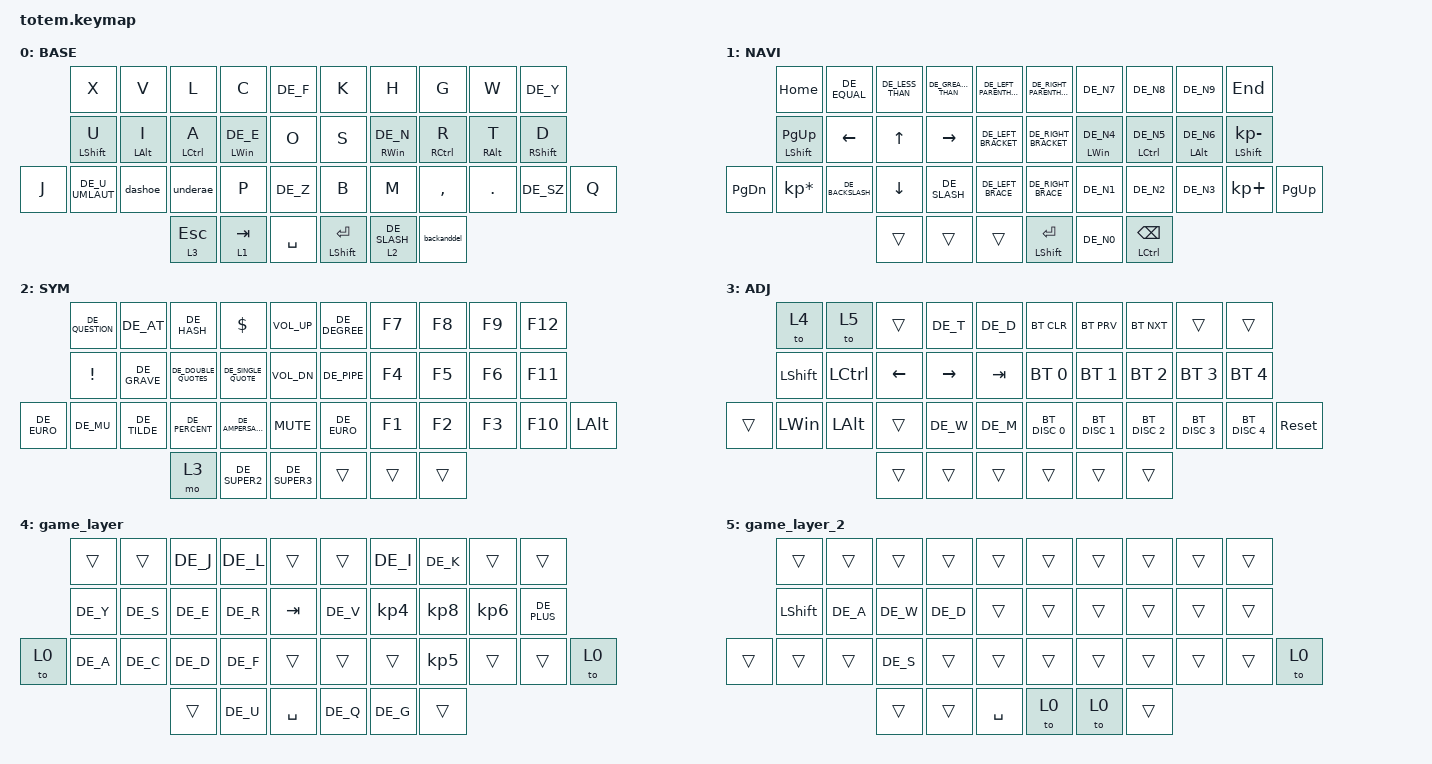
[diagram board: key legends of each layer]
//
//                                                        ▀▀▀▀▀     ▀▀▀▀▀          ▀▀█▀▀
//                                                        ▄▀▀▀▄  ▄  ▄▀▀▀▄  ▄  ▄▀▀▀▄  █  ▄▀▀▀▄
//                                                        █   █  █  █   █  █  █   █  █  █   █
//                                                         ▀▀▀   █   ▀▀▀   █   ▀▀▀   ▀   ▀▀▀
//                                                               █      ▄▄▄█▄▄▄    █   █  
//                                                               ▀      █  █  █     █▄█
//                                                             ▀▀▀▀▀    █  █  █      ▀
//                                                                      ▀  ▀  ▀
//
// ▄▄▄▄▄▄▄▄▄▄▄▄▄▄▄▄▄▄▄▄▄▄▄▄▄▄▄▄▄▄▄▄▄▄▄▄▄▄▄▄▄▄▄▄▄▄▄▄▄▄▄▄▄▄▄▄▄▄▄▄▄▄▄▄▄▄▄▄▄▄▄▄▄▄▄▄▄▄▄▄▄▄▄▄▄▄▄▄▄▄▄▄▄▄▄▄▄▄▄▄▄▄▄▄▄▄▄▄▄▄▄▄▄▄▄▄▄▄▄▄▄▄▄▄▄▄▄▄▄▄▄▄▄▄▄▄▄▄▄▄▄▄▄▄▄▄▄▄▄

#include "keys_de.h"
#include <behaviors.dtsi>
#include <dt-bindings/zmk/bt.h>
#include <dt-bindings/zmk/keys.h>

#define BASE 0
#define NAV  1
#define SYM  2
#define ADJ  3
#define TVP1 4
#define TVP2 5

&mt {
    quick-tap-ms = <100>;
    global-quick-tap;
    flavor = "tap-preferred";
    tapping-term-ms = <170>;
};

/ {
    combos {
        compatible = "zmk,combos";

        combo_esc {
            timeout-ms = <50>;
            key-positions = <1 2 3>;
            bindings = <&kp ESC>;
        };

        combo__ {
            bindings = <&kp DELETE>;
            key-positions = <23 22>;
        };

        lay_0 {
            bindings = <&to 0>;
            key-positions = <32 37>;
        };

        enterright {
            bindings = <&kp RET>;
            key-positions = <16 17 18>;
        };

        enterleft {
            bindings = <&kp RET>;
            key-positions = <11 12 13>;
        };

        tab {
            bindings = <&kp TAB>;
            key-positions = <22 23 24>;
        };
    };

    macros {
        gif: gif {
            label = "giphy";
            compatible = "zmk,behavior-macro";
            #binding-cells = <0>;
            bindings =
                <&macro_press>,
                <&kp LSHFT>,
                <&macro_tap>,
                <&kp N2>,
                <&macro_release>,
                <&kp LSHFT>,
                <&macro_tap>,
                <&kp G &kp I &kp F>;
        };

        Des_left: Des_left {
            compatible = "zmk,behavior-macro";
            #binding-cells = <0>;
            bindings = <&kp LEFT_CONTROL &kp LEFT_WIN &kp LEFT_ARROW>;
            label = "DES_LEFT";
        };

        Des_right: Des_right {
            compatible = "zmk,behavior-macro";
            #binding-cells = <0>;
            bindings = <&kp LEFT_CONTROL &kp LEFT_WIN &kp RIGHT_ARROW>;
            label = "DES_RIGHT";
        };
    };

    behaviors {
        backanddel: backanddel {
            compatible = "zmk,behavior-mod-morph";
            label = "BACKANDDEL";
            bindings = <&kp BACKSPACE>, <&kp DELETE>;

            #binding-cells = <0>;
            mods = <(MOD_LSFT)>;
        };

        underae: underae {
            compatible = "zmk,behavior-mod-morph";
            label = "UNDERAE";
            bindings = <&kp DE_A_UMLAUT>, <&kp DE_UNDER>;

            #binding-cells = <0>;
            mods = <(MOD_LCTL|MOD_RCTL)>;
        };

        dashoe: dashoe {
            compatible = "zmk,behavior-mod-morph";
            label = "DASHOE";
            bindings = <&kp DE_O_UMLAUT>, <&kp DE_MINUS>;

            #binding-cells = <0>;
            mods = <(MOD_LCTL|MOD_RCTL)>;
        };
    };

    keymap {
        compatible = "zmk,keymap";

        // ▄▄▄▄▄▄▄▄▄▄▄▄▄▄▄▄▄▄▄▄▄▄▄▄▄▄▄▄▄▄▄▄▄▄▄▄▄▄▄▄▄▄▄▄▄▄▄▄▄▄▄▄▄▄▄▄▄▄▄▄▄▄▄▄▄▄▄▄▄▄▄▄▄▄▄▄▄▄▄▄▄▄▄▄▄▄▄▄▄▄▄▄▄▄▄▄▄▄▄▄▄▄▄▄▄▄▄▄▄▄▄▄▄▄▄▄▄▄▄▄▄▄▄▄▄▄▄▄▄▄▄▄▄▄▄▄▄▄▄▄▄▄▄▄▄▄▄▄▄

        base_layer {
            // ┏━━━━━━━━━━━━━━━━━━━━━━━━━━━━━━━━━━━━━━━┓

            label = "BASE";

            // ┗━━━━━━━━━━━━━━━━━━━━━━━━━━━━━━━━━━━━━━━┛
            //             ┏━━━━━━━━━━━┳━━━━━━━━━━━┳━━━━━━━━━━━┳━━━━━━━━━━━┳━━━━━━━━━━━┓   ┏━━━━━━━━━━━┳━━━━━━━━━━━┳━━━━━━━━━━━┳━━━━━━━━━━━┳━━━━━━━━━━━┓
            //             ┃     Q     ┃     W     ┃     F     ┃     P     ┃     G     ┃   ┃     J     ┃     L     ┃     U     ┃     Y     ┃     ;     ┃
            //             ┣━━━━━━━━━━━╋━━━━━━━━━━━╋━━━━━━━━━━━╋━━━━━━━━━━━╋━━━━━━━━━━━┫   ┣━━━━━━━━━━━╋━━━━━━━━━━━╋━━━━━━━━━━━╋━━━━━━━━━━━╋━━━━━━━━━━━┫
            //             ┃     A     ┃     R     ┃     S     ┃     T     ┃     D     ┃   ┃     H     ┃     N     ┃     E     ┃     I     ┃     O     ┃
            // ┏━━━━━━━━━━━╋━━━━━━━━━━━╋━━━━━━━━━━━╋━━━━━━━━━━━╋━━━━━━━━━━━╋━━━━━━━━━━━┫   ┣━━━━━━━━━━━╋━━━━━━━━━━━╋━━━━━━━━━━━╋━━━━━━━━━━━╋━━━━━━━━━━━╋━━━━━━━━━━━┓
            // ┃     Q     ┃     Z     ┃     X     ┃     C     ┃     V     ┃     B     ┃   ┃     K     ┃     M     ┃     ,     ┃     .     ┃     /     ┃     \     ┃
            // ┗━━━━━━━━━━━┻━━━━━━━━━━━┻━━━━━━━━━━━╋━━━━━━━━━━━╋━━━━━━━━━━━╋━━━━━━━━━━━┫   ┣━━━━━━━━━━━╋━━━━━━━━━━━╋━━━━━━━━━━━╋━━━━━━━━━━━┻━━━━━━━━━━━┻━━━━━━━━━━━┛
            //                                     ┃    DEL    ┃    TAB    ┃    SPC    ┃   ┃   ENTER   ┃           ┃   BSPC    ┃
            //                                     ┗━━━━━━━━━━━┻━━━━━━━━━━━┻━━━━━━━━━━━┛   ┗━━━━━━━━━━━┻━━━━━━━━━━━┻━━━━━━━━━━━┛

            bindings = <
       &kp X             &kp V       &kp L         &kp C              &kp DE_F     &kp K                 &kp H               &kp G        &kp W       &kp DE_Y
       &mt LEFT_SHIFT U  &mt LALT I  &mt LCTRL A   &mt LEFT_WIN DE_E  &kp O        &kp S                 &mt RIGHT_WIN DE_N  &mt RCTRL R  &mt RALT T  &mt RIGHT_SHIFT D
&kp J  &kp DE_U_UMLAUT   &dashoe     &underae      &kp P              &kp DE_Z     &kp B                 &kp M               &kp COMMA    &kp DOT     &kp DE_SZ          &kp Q
                                     &lt 3 ESCAPE  &lt 1 TAB          &kp SPACE    &mt LEFT_SHIFT ENTER  &lt 2 DE_SLASH      &backanddel
            >;
        };

        // ▄▄▄▄▄▄▄▄▄▄▄▄▄▄▄▄▄▄▄▄▄▄▄▄▄▄▄▄▄▄▄▄▄▄▄▄▄▄▄▄▄▄▄▄▄▄▄▄▄▄▄▄▄▄▄▄▄▄▄▄▄▄▄▄▄▄▄▄▄▄▄▄▄▄▄▄▄▄▄▄▄▄▄▄▄▄▄▄▄▄▄▄▄▄▄▄▄▄▄▄▄▄▄▄▄▄▄▄▄▄▄▄▄▄▄▄▄▄▄▄▄▄▄▄▄▄▄▄▄▄▄▄▄▄▄▄▄▄▄▄▄▄▄▄▄▄▄▄▄

        nav_layer {
            // ┏━━━━━━━━━━━━━━━━━━━━━━━━━━━━━━━━━━━━━━━┓

            label = "NAVI";

            // ┗━━━━━━━━━━━━━━━━━━━━━━━━━━━━━━━━━━━━━━━┛
            //             ┏━━━━━━━━━━━┳━━━━━━━━━━━┳━━━━━━━━━━━┳━━━━━━━━━━━┳━━━━━━━━━━━┓   ┏━━━━━━━━━━━┳━━━━━━━━━━━┳━━━━━━━━━━━┳━━━━━━━━━━━┳━━━━━━━━━━━┓
            //             ┃           ┃           ┃     UP    ┃           ┃     {     ┃   ┃     }     ┃     7     ┃     8     ┃     9     ┃     +     ┃
            //             ┣━━━━━━━━━━━╋━━━━━━━━━━━╋━━━━━━━━━━━╋━━━━━━━━━━━╋━━━━━━━━━━━┫   ┣━━━━━━━━━━━╋━━━━━━━━━━━╋━━━━━━━━━━━╋━━━━━━━━━━━╋━━━━━━━━━━━┫
            //             ┃   SHIFT   ┃   LEFT    ┃    DOWN   ┃   RIGHT   ┃     [     ┃   ┃     ]     ┃     4     ┃     5     ┃     6     ┃     -     ┃
            // ┏━━━━━━━━━━━╋━━━━━━━━━━━╋━━━━━━━━━━━╋━━━━━━━━━━━╋━━━━━━━━━━━╋━━━━━━━━━━━┫   ┣━━━━━━━━━━━╋━━━━━━━━━━━╋━━━━━━━━━━━╋━━━━━━━━━━━╋━━━━━━━━━━━╋━━━━━━━━━━━┓
            // ┃           ┃           ┃   P UP    ┃  C LOCK   ┃  P DOWN   ┃     (     ┃   ┃     )     ┃     1     ┃     2     ┃     3     ┃     *     ┃           ┃
            // ┗━━━━━━━━━━━┻━━━━━━━━━━━┻━━━━━━━━━━━╋━━━━━━━━━━━╋━━━━━━━━━━━╋━━━━━━━━━━━┫   ┣━━━━━━━━━━━╋━━━━━━━━━━━╋━━━━━━━━━━━╋━━━━━━━━━━━┻━━━━━━━━━━━┻━━━━━━━━━━━┛
            //                                     ┃           ┃    TAB    ┃    SPC    ┃   ┃    DEL    ┃     0     ┃           ┃
            //                                     ┗━━━━━━━━━━━┻━━━━━━━━━━━┻━━━━━━━━━━━┛   ┗━━━━━━━━━━━┻━━━━━━━━━━━┻━━━━━━━━━━━┛

            bindings = <
               &kp HOME              &kp DE_EQUAL      &kp DE_LESS_THAN  &kp DE_GREATER_THAN  &kp DE_LEFT_PARENTHESIS    &kp DE_RIGHT_PARENTHESIS  &kp DE_N7           &kp DE_N8                   &kp DE_N9           &kp END
               &mt LEFT_SHIFT PG_UP  &kp LEFT_ARROW    &kp UP            &kp RIGHT            &kp DE_LEFT_BRACKET        &kp DE_RIGHT_BRACKET      &mt LEFT_WIN DE_N4  &mt LEFT_CONTROL DE_N5      &mt LEFT_ALT DE_N6  &mt LEFT_SHIFT KP_MINUS
&kp PAGE_DOWN  &kp KP_MULTIPLY       &kp DE_BACKSLASH  &kp DOWN_ARROW    &kp DE_SLASH         &kp DE_LEFT_BRACE          &kp DE_RIGHT_BRACE        &kp DE_N1           &kp DE_N2                   &kp DE_N3           &kp KP_PLUS              &kp PG_UP
                                                       &trans            &trans               &trans                     &mt LEFT_SHIFT ENTER      &kp DE_N0           &mt LEFT_CONTROL BACKSPACE
            >;
        };

        // ▄▄▄▄▄▄▄▄▄▄▄▄▄▄▄▄▄▄▄▄▄▄▄▄▄▄▄▄▄▄▄▄▄▄▄▄▄▄▄▄▄▄▄▄▄▄▄▄▄▄▄▄▄▄▄▄▄▄▄▄▄▄▄▄▄▄▄▄▄▄▄▄▄▄▄▄▄▄▄▄▄▄▄▄▄▄▄▄▄▄▄▄▄▄▄▄▄▄▄▄▄▄▄▄▄▄▄▄▄▄▄▄▄▄▄▄▄▄▄▄▄▄▄▄▄▄▄▄▄▄▄▄▄▄▄▄▄▄▄▄▄▄▄▄▄▄▄▄▄

        sim_layer {
            // ┏━━━━━━━━━━━━━━━━━━━━━━━━━━━━━━━━━━━━━━━┓

            label = "SYM";

            // ┗━━━━━━━━━━━━━━━━━━━━━━━━━━━━━━━━━━━━━━━┛
            //             ┏━━━━━━━━━━━┳━━━━━━━━━━━┳━━━━━━━━━━━┳━━━━━━━━━━━┳━━━━━━━━━━━┓   ┏━━━━━━━━━━━┳━━━━━━━━━━━┳━━━━━━━━━━━┳━━━━━━━━━━━┳━━━━━━━━━━━┓
            //             ┃     !     ┃     @     ┃     #     ┃     $     ┃     %     ┃   ┃     ˆ     ┃     &     ┃     Ü     ┃     '     ┃     "     ┃
            //             ┣━━━━━━━━━━━╋━━━━━━━━━━━╋━━━━━━━━━━━╋━━━━━━━━━━━╋━━━━━━━━━━━┫   ┣━━━━━━━━━━━╋━━━━━━━━━━━╋━━━━━━━━━━━╋━━━━━━━━━━━╋━━━━━━━━━━━┫
            //             ┃     Ä     ┃           ┃    SZ     ┃           ┃           ┃   ┃   MUTE    ┃   YEN     ┃   EURO    ┃  POUND    ┃     Ö     ┃
            // ┏━━━━━━━━━━━╋━━━━━━━━━━━╋━━━━━━━━━━━╋━━━━━━━━━━━╋━━━━━━━━━━━╋━━━━━━━━━━━┫   ┣━━━━━━━━━━━╋━━━━━━━━━━━╋━━━━━━━━━━━╋━━━━━━━━━━━╋━━━━━━━━━━━╋━━━━━━━━━━━┓
            // ┃           ┃  EMAIL1   ┃  EMAIL2   ┃           ┃           ┃           ┃   ┃   VOL-    ┃   VOL+    ┃   LAST    ┃   NEXT    ┃     \     ┃           ┃
            // ┗━━━━━━━━━━━┻━━━━━━━━━━━┻━━━━━━━━━━━╋━━━━━━━━━━━╋━━━━━━━━━━━╋━━━━━━━━━━━┫   ┣━━━━━━━━━━━╋━━━━━━━━━━━╋━━━━━━━━━━━╋━━━━━━━━━━━┻━━━━━━━━━━━┻━━━━━━━━━━━┛
            //                                     ┃           ┃    GIF    ┃    ADJ    ┃   ┃           ┃           ┃           ┃
            //                                     ┗━━━━━━━━━━━┻━━━━━━━━━━━┻━━━━━━━━━━━┛   ┗━━━━━━━━━━━┻━━━━━━━━━━━┻━━━━━━━━━━━┛

            bindings = <
             &kp DE_QUESTION  &kp DE_AT     &kp DE_HASH           &kp DLLR             &kp C_VOL_UP     &kp DE_DEGREE  &kp F7  &kp F8  &kp F9  &kp F12
             &kp EXCL         &kp DE_GRAVE  &kp DE_DOUBLE_QUOTES  &kp DE_SINGLE_QUOTE  &kp C_VOL_DN     &kp DE_PIPE    &kp F4  &kp F5  &kp F6  &kp F11
&kp DE_EURO  &kp DE_MU        &kp DE_TILDE  &kp DE_PERCENT        &kp DE_AMPERSAND     &kp C_MUTE       &kp DE_EURO    &kp F1  &kp F2  &kp F3  &kp F10  &kp LEFT_ALT
                                            &mo 3                 &kp DE_SUPER2        &kp DE_SUPER3    &trans         &trans  &trans
            >;
        };

        // ▄▄▄▄▄▄▄▄▄▄▄▄▄▄▄▄▄▄▄▄▄▄▄▄▄▄▄▄▄▄▄▄▄▄▄▄▄▄▄▄▄▄▄▄▄▄▄▄▄▄▄▄▄▄▄▄▄▄▄▄▄▄▄▄▄▄▄▄▄▄▄▄▄▄▄▄▄▄▄▄▄▄▄▄▄▄▄▄▄▄▄▄▄▄▄▄▄▄▄▄▄▄▄▄▄▄▄▄▄▄▄▄▄▄▄▄▄▄▄▄▄▄▄▄▄▄▄▄▄▄▄▄▄▄▄▄▄▄▄▄▄▄▄▄▄▄▄▄▄

        adjust_layer {
            // ┏━━━━━━━━━━━━━━━━━━━━━━━━━━━━━━━━━━━━━━━┓

            label = "ADJ";

            // ┗━━━━━━━━━━━━━━━━━━━━━━━━━━━━━━━━━━━━━━━┛
            //             ┏━━━━━━━━━━━┳━━━━━━━━━━━┳━━━━━━━━━━━┳━━━━━━━━━━━┳━━━━━━━━━━━┓   ┏━━━━━━━━━━━┳━━━━━━━━━━━┳━━━━━━━━━━━┳━━━━━━━━━━━┳━━━━━━━━━━━┓
            //             ┃   RESET   ┃ BT CLEAR  ┃  OUT TOG  ┃           ┃           ┃   ┃           ┃    F7     ┃    F8     ┃    F9     ┃    F12    ┃
            //             ┣━━━━━━━━━━━╋━━━━━━━━━━━╋━━━━━━━━━━━╋━━━━━━━━━━━╋━━━━━━━━━━━┫   ┣━━━━━━━━━━━╋━━━━━━━━━━━╋━━━━━━━━━━━╋━━━━━━━━━━━╋━━━━━━━━━━━┫
            //             ┃ BOOTLOAD  ┃ BT NEXT   ┃           ┃           ┃           ┃   ┃           ┃    F4     ┃    F5     ┃    F6     ┃    F11    ┃
            // ┏━━━━━━━━━━━╋━━━━━━━━━━━╋━━━━━━━━━━━╋━━━━━━━━━━━╋━━━━━━━━━━━╋━━━━━━━━━━━┫   ┣━━━━━━━━━━━╋━━━━━━━━━━━╋━━━━━━━━━━━╋━━━━━━━━━━━╋━━━━━━━━━━━╋━━━━━━━━━━━┓
            // ┃           ┃           ┃ BT PREV   ┃           ┃           ┃           ┃   ┃           ┃    F1     ┃    F2     ┃    F3     ┃    F10    ┃           ┃
            // ┗━━━━━━━━━━━┻━━━━━━━━━━━┻━━━━━━━━━━━╋━━━━━━━━━━━╋━━━━━━━━━━━╋━━━━━━━━━━━┫   ┣━━━━━━━━━━━╋━━━━━━━━━━━╋━━━━━━━━━━━╋━━━━━━━━━━━┻━━━━━━━━━━━┻━━━━━━━━━━━┛
            //                                     ┃           ┃           ┃           ┃   ┃           ┃           ┃           ┃
            //                                     ┗━━━━━━━━━━━┻━━━━━━━━━━━┻━━━━━━━━━━━┛   ┗━━━━━━━━━━━┻━━━━━━━━━━━┻━━━━━━━━━━━┛

            bindings = <
        &to 4           &to 5             &trans          &kp DE_T   &kp DE_D    &bt BT_CLR     &bt BT_PRV     &bt BT_NXT     &trans         &trans
        &kp LEFT_SHIFT  &kp LEFT_CONTROL  &kp LEFT_ARROW  &kp RIGHT  &kp TAB     &bt BT_SEL 0   &bt BT_SEL 1   &bt BT_SEL 2   &bt BT_SEL 3   &bt BT_SEL 4
&trans  &kp LEFT_WIN    &kp LEFT_ALT      &trans          &kp DE_W   &kp DE_M    &bt BT_DISC 0  &bt BT_DISC 1  &bt BT_DISC 2  &bt BT_DISC 3  &bt BT_DISC 4  &sys_reset
                                          &trans          &trans     &trans      &trans         &trans         &trans
            >;
        };

        game_layer {
            bindings = <
       &trans    &trans    &kp DE_J  &kp DE_L  &trans       &trans    &kp DE_I   &kp DE_K         &trans     &trans
       &kp DE_Y  &kp DE_S  &kp DE_E  &kp DE_R  &kp TAB      &kp DE_V  &kp KP_N4  &kp KP_NUMBER_8  &kp KP_N6  &kp DE_PLUS
&to 0  &kp DE_A  &kp DE_C  &kp DE_D  &kp DE_F  &trans       &trans    &trans     &kp KP_N5        &trans     &trans       &to 0
                           &trans    &kp DE_U  &kp SPACE    &kp DE_Q  &kp DE_G   &trans
            >;
        };

        game_layer_2 {
            bindings = <
        &trans          &trans    &trans    &trans    &trans       &trans  &trans  &trans  &trans  &trans
        &kp LEFT_SHIFT  &kp DE_A  &kp DE_W  &kp DE_D  &trans       &trans  &trans  &trans  &trans  &trans
&trans  &trans          &trans    &kp DE_S  &trans    &trans       &trans  &trans  &trans  &trans  &trans  &to 0
                                  &trans    &trans    &kp SPACE    &to 0   &to 0   &trans
            >;
        };

        // ▄▄▄▄▄▄▄▄▄▄▄▄▄▄▄▄▄▄▄▄▄▄▄▄▄▄▄▄▄▄▄▄▄▄▄▄▄▄▄▄▄▄▄▄▄▄▄▄▄▄▄▄▄▄▄▄▄▄▄▄▄▄▄▄▄▄▄▄▄▄▄▄▄▄▄▄▄▄▄▄▄▄▄▄▄▄▄▄▄▄▄▄▄▄▄▄▄▄▄▄▄▄▄▄▄▄▄▄▄▄▄▄▄▄▄▄▄▄▄▄▄▄▄▄▄▄▄▄▄▄▄▄▄▄▄▄▄▄▄▄▄▄▄▄▄▄▄▄▄
        // ▄▄▄▄▄▄▄▄▄▄▄▄▄▄▄▄▄▄▄▄▄▄▄▄▄▄▄▄▄▄▄▄▄▄▄▄▄▄▄▄▄▄▄▄▄▄▄▄▄▄▄▄▄▄▄▄▄▄▄▄▄▄▄▄▄▄▄▄▄▄▄▄▄▄▄▄▄▄▄▄▄▄▄▄▄▄▄▄▄▄▄▄▄▄▄▄▄▄▄▄▄▄▄▄▄▄▄▄▄▄▄▄▄▄▄▄▄▄▄▄▄▄▄▄▄▄▄▄▄▄▄▄▄▄▄▄▄▄▄▄▄▄▄▄▄▄▄▄▄
    };
};
